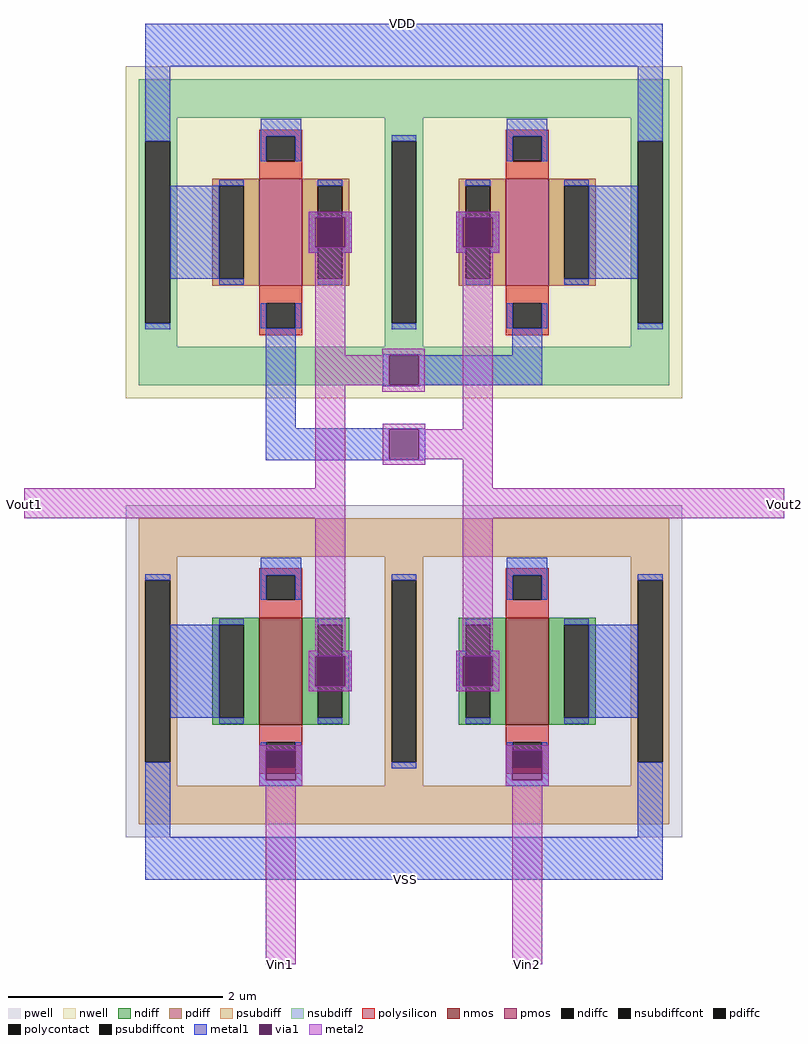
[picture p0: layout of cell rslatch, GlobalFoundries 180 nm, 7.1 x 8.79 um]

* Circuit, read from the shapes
.subckt rslatch VDD Vout1 Vout2 Vin1 Vin2 VSS
XM1 Vout1 Vin1 VSS VSS nfet_03v3 w=1u l=0.4u
XM2 VSS Vin2 Vout2 VSS nfet_03v3 w=1u l=0.4u
XM3 Vout1 Vout2 VDD VDD pfet_03v3 w=1u l=0.4u
XM4 VDD Vout1 Vout2 VDD pfet_03v3 w=1u l=0.4u
.ends

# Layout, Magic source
magic
tech gf180mcuD
magscale 1 10
<< nwell >>
rect 2060 -1120 3100 -500
<< pwell >>
rect 2060 -1940 3100 -1320
<< nmos >>
rect 2310 -1730 2390 -1530
rect 2770 -1730 2850 -1530
<< pmos >>
rect 2310 -910 2390 -710
rect 2770 -910 2850 -710
<< ndiff >>
rect 2222 -1543 2310 -1530
rect 2222 -1717 2235 -1543
rect 2281 -1717 2310 -1543
rect 2222 -1730 2310 -1717
rect 2390 -1543 2478 -1530
rect 2390 -1717 2419 -1543
rect 2465 -1717 2478 -1543
rect 2390 -1730 2478 -1717
rect 2682 -1543 2770 -1530
rect 2682 -1717 2695 -1543
rect 2741 -1717 2770 -1543
rect 2682 -1730 2770 -1717
rect 2850 -1543 2938 -1530
rect 2850 -1717 2879 -1543
rect 2925 -1717 2938 -1543
rect 2850 -1730 2938 -1717
<< pdiff >>
rect 2222 -723 2310 -710
rect 2222 -897 2235 -723
rect 2281 -897 2310 -723
rect 2222 -910 2310 -897
rect 2390 -723 2478 -710
rect 2390 -897 2419 -723
rect 2465 -897 2478 -723
rect 2390 -910 2478 -897
rect 2682 -723 2770 -710
rect 2682 -897 2695 -723
rect 2741 -897 2770 -723
rect 2682 -910 2770 -897
rect 2850 -723 2938 -710
rect 2850 -897 2879 -723
rect 2925 -897 2938 -723
rect 2850 -910 2938 -897
<< ndiffc >>
rect 2235 -1717 2281 -1543
rect 2419 -1717 2465 -1543
rect 2695 -1717 2741 -1543
rect 2879 -1717 2925 -1543
<< pdiffc >>
rect 2235 -897 2281 -723
rect 2419 -897 2465 -723
rect 2695 -897 2741 -723
rect 2879 -897 2925 -723
<< psubdiff >>
rect 2084 -1416 3076 -1344
rect 2084 -1460 2156 -1416
rect 2084 -1800 2097 -1460
rect 2143 -1800 2156 -1460
rect 2544 -1460 2616 -1416
rect 2084 -1844 2156 -1800
rect 2544 -1800 2557 -1460
rect 2603 -1800 2616 -1460
rect 3004 -1460 3076 -1416
rect 2544 -1844 2616 -1800
rect 3004 -1800 3017 -1460
rect 3063 -1800 3076 -1460
rect 3004 -1844 3076 -1800
rect 2084 -1916 3076 -1844
<< nsubdiff >>
rect 2084 -596 3076 -524
rect 2084 -640 2156 -596
rect 2084 -980 2097 -640
rect 2143 -980 2156 -640
rect 2544 -640 2616 -596
rect 2084 -1024 2156 -980
rect 2544 -980 2557 -640
rect 2603 -980 2616 -640
rect 3004 -640 3076 -596
rect 2544 -1024 2616 -980
rect 3004 -980 3017 -640
rect 3063 -980 3076 -640
rect 3004 -1024 3076 -980
rect 2084 -1096 3076 -1024
<< psubdiffcont >>
rect 2097 -1800 2143 -1460
rect 2557 -1800 2603 -1460
rect 3017 -1800 3063 -1460
<< nsubdiffcont >>
rect 2097 -980 2143 -640
rect 2557 -980 2603 -640
rect 3017 -980 3063 -640
<< polysilicon >>
rect 2310 -631 2390 -618
rect 2310 -677 2323 -631
rect 2377 -677 2390 -631
rect 2310 -710 2390 -677
rect 2310 -943 2390 -910
rect 2310 -989 2323 -943
rect 2377 -989 2390 -943
rect 2310 -1002 2390 -989
rect 2770 -631 2850 -618
rect 2770 -677 2783 -631
rect 2837 -677 2850 -631
rect 2770 -710 2850 -677
rect 2770 -943 2850 -910
rect 2770 -989 2783 -943
rect 2837 -989 2850 -943
rect 2770 -1002 2850 -989
rect 2310 -1451 2390 -1438
rect 2310 -1497 2323 -1451
rect 2377 -1497 2390 -1451
rect 2310 -1530 2390 -1497
rect 2310 -1763 2390 -1730
rect 2310 -1809 2323 -1763
rect 2377 -1809 2390 -1763
rect 2310 -1822 2390 -1809
rect 2770 -1451 2850 -1438
rect 2770 -1497 2783 -1451
rect 2837 -1497 2850 -1451
rect 2770 -1530 2850 -1497
rect 2770 -1763 2850 -1730
rect 2770 -1809 2783 -1763
rect 2837 -1809 2850 -1763
rect 2770 -1822 2850 -1809
<< polycontact >>
rect 2323 -677 2377 -631
rect 2323 -989 2377 -943
rect 2783 -677 2837 -631
rect 2783 -989 2837 -943
rect 2323 -1497 2377 -1451
rect 2323 -1809 2377 -1763
rect 2783 -1497 2837 -1451
rect 2783 -1809 2837 -1763
<< metal1 >>
rect 2097 -500 3063 -420
rect 2097 -640 2143 -500
rect 2312 -631 2388 -598
rect 2312 -677 2323 -631
rect 2377 -677 2388 -631
rect 2557 -640 2603 -629
rect 2235 -723 2281 -712
rect 2143 -897 2235 -723
rect 2419 -723 2465 -712
rect 2402 -782 2419 -772
rect 2465 -782 2482 -772
rect 2402 -838 2414 -782
rect 2470 -838 2482 -782
rect 2402 -848 2419 -838
rect 2235 -908 2281 -897
rect 2465 -848 2482 -838
rect 2419 -908 2465 -897
rect 2097 -991 2143 -980
rect 2312 -989 2323 -943
rect 2377 -989 2388 -943
rect 2772 -631 2848 -598
rect 2772 -677 2783 -631
rect 2837 -677 2848 -631
rect 3017 -640 3063 -500
rect 2695 -723 2741 -712
rect 2678 -782 2695 -772
rect 2879 -723 2925 -712
rect 2741 -782 2758 -772
rect 2678 -838 2690 -782
rect 2746 -838 2758 -782
rect 2678 -848 2695 -838
rect 2741 -848 2758 -838
rect 2695 -908 2741 -897
rect 2925 -897 3017 -723
rect 2879 -908 2925 -897
rect 2322 -1176 2378 -989
rect 2557 -991 2603 -980
rect 2772 -989 2783 -943
rect 2837 -989 2848 -943
rect 2540 -1040 2610 -1038
rect 2782 -1040 2838 -989
rect 3017 -991 3063 -980
rect 2540 -1096 2552 -1040
rect 2608 -1096 2838 -1040
rect 2540 -1098 2610 -1096
rect 2322 -1178 2620 -1176
rect 2322 -1234 2552 -1178
rect 2608 -1234 2620 -1178
rect 2322 -1236 2620 -1234
rect 2097 -1460 2143 -1449
rect 2312 -1451 2388 -1418
rect 2312 -1497 2323 -1451
rect 2377 -1497 2388 -1451
rect 2557 -1460 2603 -1449
rect 2235 -1543 2281 -1532
rect 2143 -1717 2235 -1543
rect 2419 -1543 2465 -1532
rect 2402 -1602 2419 -1592
rect 2465 -1602 2482 -1592
rect 2402 -1658 2414 -1602
rect 2470 -1658 2482 -1602
rect 2402 -1668 2419 -1658
rect 2235 -1728 2281 -1717
rect 2465 -1668 2482 -1658
rect 2419 -1728 2465 -1717
rect 2312 -1768 2323 -1763
rect 2097 -1940 2143 -1800
rect 2310 -1778 2323 -1768
rect 2377 -1768 2388 -1763
rect 2377 -1778 2390 -1768
rect 2310 -1834 2322 -1778
rect 2378 -1834 2390 -1778
rect 2772 -1451 2848 -1418
rect 2772 -1497 2783 -1451
rect 2837 -1497 2848 -1451
rect 3017 -1460 3063 -1449
rect 2695 -1543 2741 -1532
rect 2678 -1602 2695 -1592
rect 2879 -1543 2925 -1532
rect 2741 -1602 2758 -1592
rect 2678 -1658 2690 -1602
rect 2746 -1658 2758 -1602
rect 2678 -1668 2695 -1658
rect 2741 -1668 2758 -1658
rect 2695 -1728 2741 -1717
rect 2925 -1717 3017 -1543
rect 2879 -1728 2925 -1717
rect 2772 -1768 2783 -1763
rect 2557 -1811 2603 -1800
rect 2770 -1778 2783 -1768
rect 2837 -1768 2848 -1763
rect 2837 -1778 2850 -1768
rect 2310 -1844 2390 -1834
rect 2770 -1834 2782 -1778
rect 2838 -1834 2850 -1778
rect 2770 -1844 2850 -1834
rect 3017 -1940 3063 -1800
rect 2097 -2020 3063 -1940
<< via1 >>
rect 2414 -838 2419 -782
rect 2419 -838 2465 -782
rect 2465 -838 2470 -782
rect 2690 -838 2695 -782
rect 2695 -838 2741 -782
rect 2741 -838 2746 -782
rect 2552 -1096 2608 -1040
rect 2552 -1234 2608 -1178
rect 2414 -1658 2419 -1602
rect 2419 -1658 2465 -1602
rect 2465 -1658 2470 -1602
rect 2322 -1809 2323 -1778
rect 2323 -1809 2377 -1778
rect 2377 -1809 2378 -1778
rect 2322 -1834 2378 -1809
rect 2690 -1658 2695 -1602
rect 2695 -1658 2741 -1602
rect 2741 -1658 2746 -1602
rect 2782 -1809 2783 -1778
rect 2783 -1809 2837 -1778
rect 2837 -1809 2838 -1778
rect 2782 -1834 2838 -1809
<< metal2 >>
rect 2402 -782 2482 -772
rect 2402 -838 2414 -782
rect 2470 -838 2482 -782
rect 2402 -848 2482 -838
rect 2678 -782 2758 -772
rect 2678 -838 2690 -782
rect 2746 -838 2758 -782
rect 2678 -848 2758 -838
rect 2414 -1040 2470 -848
rect 2539 -1040 2619 -1028
rect 2414 -1096 2552 -1040
rect 2608 -1096 2619 -1040
rect 2414 -1288 2470 -1096
rect 2539 -1108 2619 -1096
rect 2540 -1178 2620 -1168
rect 2690 -1178 2746 -848
rect 2540 -1234 2552 -1178
rect 2608 -1234 2746 -1178
rect 2540 -1244 2620 -1234
rect 1870 -1344 2470 -1288
rect 2414 -1592 2470 -1344
rect 2690 -1288 2746 -1234
rect 2690 -1344 3290 -1288
rect 2690 -1592 2746 -1344
rect 2402 -1602 2482 -1592
rect 2402 -1658 2414 -1602
rect 2470 -1658 2482 -1602
rect 2402 -1668 2482 -1658
rect 2678 -1602 2758 -1592
rect 2678 -1658 2690 -1602
rect 2746 -1658 2758 -1602
rect 2678 -1668 2758 -1658
rect 2310 -1778 2390 -1768
rect 2310 -1834 2322 -1778
rect 2378 -1834 2390 -1778
rect 2310 -1844 2390 -1834
rect 2770 -1778 2850 -1768
rect 2770 -1834 2782 -1778
rect 2838 -1834 2850 -1778
rect 2770 -1844 2850 -1834
rect 2322 -2178 2378 -1844
rect 2782 -2178 2838 -1844
<< labels >>
rlabel metal1 2578 -420 2578 -420 1 VDD
port 0 n
rlabel metal2 1870 -1318 1870 -1318 7 Vout1
port 1 w
rlabel metal2 3290 -1318 3290 -1318 3 Vout2
port 2 e
rlabel metal2 2350 -2178 2350 -2178 5 Vin1
port 3 s
rlabel metal2 2811 -2178 2811 -2178 5 Vin2
port 4 s
rlabel metal1 2583 -2020 2583 -2020 5 VSS
port 5 s
<< end >>
